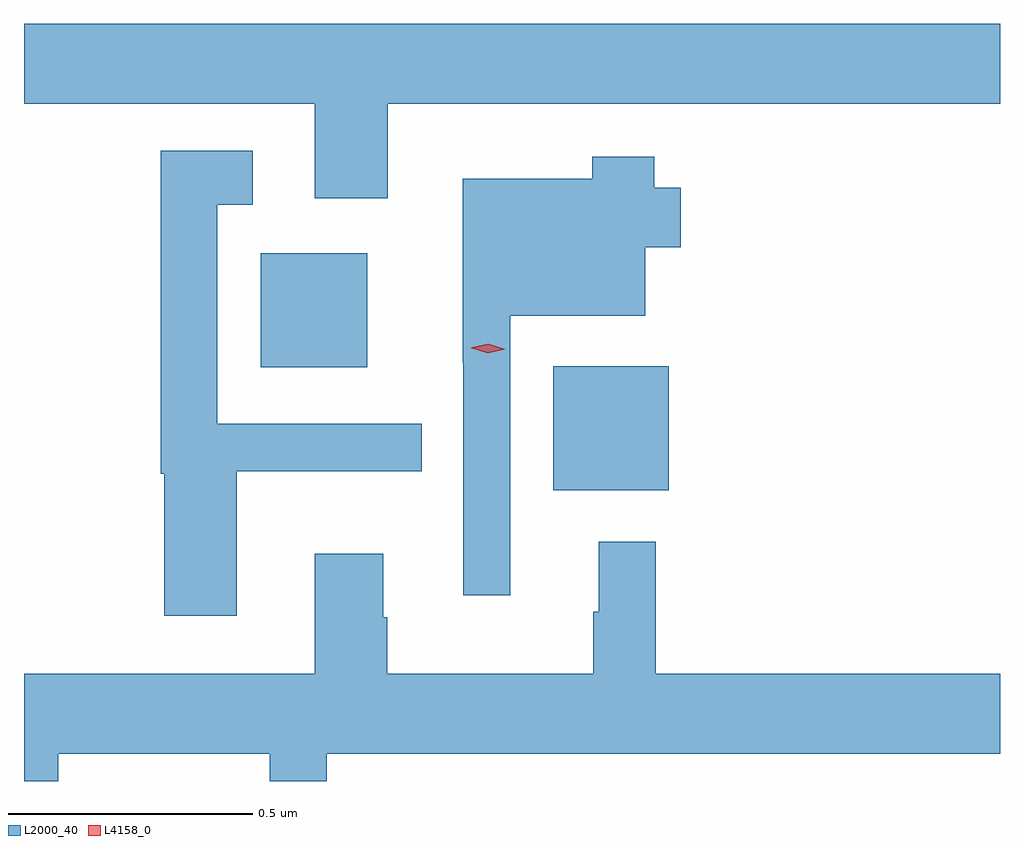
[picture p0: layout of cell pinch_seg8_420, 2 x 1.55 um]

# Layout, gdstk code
import gdstk
lib = gdstk.Library(unit=1e-6, precision=1e-09)
def R(c, l, rs):  # rectangles x0, y0, x1, y1
    for r in rs: c.add(gdstk.rectangle(r[:2], r[2:], *l))
def P(c, l, *ps):  # polygons
    for p in ps: c.add(gdstk.Polygon(p, *l))
L2000_40 = (2000, 40)
L4158_0 = (4158, 0)

pinch_seg8_420 = lib.new_cell('pinch_seg8_420')
R(pinch_seg8_420, L2000_40, [(587.498,1102.388,587.734,1102.642), (586.898,1102.64,587.116,1102.873)])
P(pinch_seg8_420, L2000_40, [(587.158,1103.18),(588.413,1103.18),(588.413,1103.344),(586.413,1103.344),(586.413,1103.18),(587.009,1103.18),(587.009,1102.986),(587.158,1102.986)],
  [(586.849,1102.427),(587.228,1102.427),(587.228,1102.524),(586.809,1102.524),(586.809,1102.973),(586.882,1102.973),(586.882,1103.083),(586.693,1103.083),(586.693,1102.421),(586.7,1102.421),(586.7,1102.131),(586.849,1102.131)],
  [(587.409,1102.745),(587.686,1102.745),(587.686,1102.886),(587.759,1102.886),(587.759,1103.008),(587.705,1103.008),(587.705,1103.071),(587.577,1103.071),(587.577,1103.026),(587.312,1103.026),(587.312,1102.649),(587.313,1102.649),(587.313,1102.173),(587.409,1102.173)],
  [(586.483,1101.848),(586.917,1101.848),(586.917,1101.791),(587.033,1101.791),(587.033,1101.848),(588.413,1101.848),(588.413,1102.012),(587.708,1102.012),(587.708,1102.282),(587.591,1102.282),(587.591,1102.139),(587.58,1102.139),(587.58,1102.012),(587.157,1102.012),(587.157,1102.127),(587.149,1102.127),(587.149,1102.258),(587.009,1102.258),(587.009,1102.012),(586.413,1102.012),(586.413,1101.791),(586.483,1101.791)])
P(pinch_seg8_420, L4158_0, [(587.363,1102.668),(587.327,1102.68),(587.327,1102.68),(587.327,1102.68),(587.364,1102.688),(587.399,1102.677),(587.399,1102.677),(587.399,1102.677)])

lib.write_gds('pinch_seg8_420.gds')
